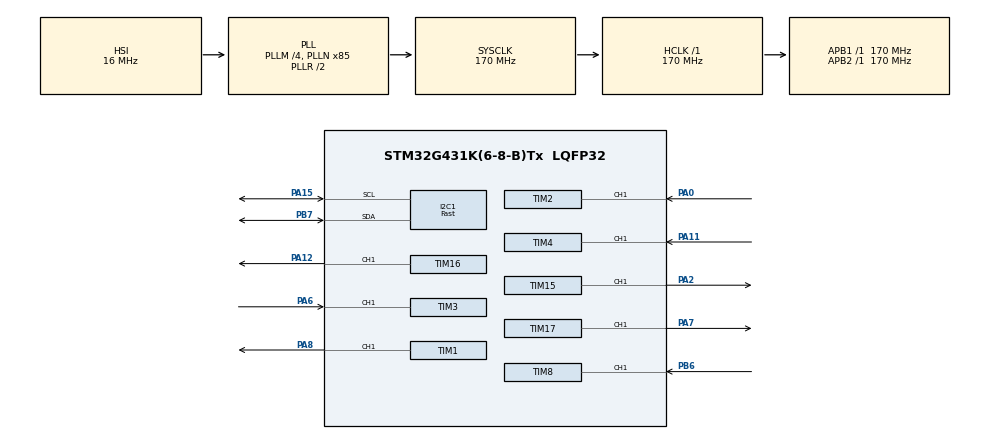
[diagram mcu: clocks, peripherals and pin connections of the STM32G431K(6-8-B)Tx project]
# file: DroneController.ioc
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I2C1.I2C_Speed_Mode=I2C_Fast
I2C1.Timing=0x40621236
Mcu.Family=STM32G4
Mcu.Name=STM32G431K(6-8-B)Tx
Mcu.Package=LQFP32
NVIC.PriorityGroup=NVIC_PRIORITYGROUP_4
NVIC.TIM2_IRQn=true\:0\:0\:false\:false\:true\:true\:true\:true
NVIC.TIM3_IRQn=true\:0\:0\:false\:false\:true\:true\:true\:true
NVIC.TIM4_IRQn=true\:0\:0\:false\:false\:true\:true\:true\:true
NVIC.TIM8_CC_IRQn=true\:0\:0\:false\:false\:true\:true\:true\:true
PA0.Signal=S_TIM2_CH1
PA11.Signal=S_TIM4_CH1
PA12.Signal=S_TIM16_CH1
PA13.GPIO_Label=T_SWDIO
PA13.Mode=Trace_Asynchronous_SW
PA13.Signal=SYS_JTMS-SWDIO
PA14.GPIO_Label=T_SWCLK
PA14.Mode=Trace_Asynchronous_SW
PA14.Signal=SYS_JTCK-SWCLK
PA15.Mode=I2C
PA15.Signal=I2C1_SCL
PA2.Signal=S_TIM15_CH1
PA6.Signal=S_TIM3_CH1
PA7.Signal=S_TIM17_CH1
PA8.Signal=S_TIM1_CH1
PB3.GPIO_Label=T_SWO
PB3.Mode=Trace_Asynchronous_SW
PB3.Signal=SYS_JTDO-SWO
PB6.Signal=S_TIM8_CH1
PB7.Mode=I2C
PB7.Signal=I2C1_SDA
PF0-OSC_IN.Mode=HSE-External-Oscillator
PF0-OSC_IN.Signal=RCC_OSC_IN
PF1-OSC_OUT.Mode=HSE-External-Oscillator
PF1-OSC_OUT.Signal=RCC_OSC_OUT
ProjectManager.HeapSize=0x200
ProjectManager.StackSize=0x400
ProjectManager.TargetToolchain=STM32CubeIDE
RCC.ADC12Freq_Value=170000000
RCC.AHBFreq_Value=170000000
RCC.APB1Freq_Value=170000000
RCC.APB1TimFreq_Value=170000000
RCC.APB2Freq_Value=170000000
RCC.APB2TimFreq_Value=170000000
RCC.CortexFreq_Value=170000000
RCC.EXTERNAL_CLOCK_VALUE=12288000
RCC.HCLKFreq_Value=170000000
RCC.HSE_VALUE=8000000
RCC.HSI48_VALUE=48000000
RCC.HSI_VALUE=16000000
RCC.LSE_VALUE=32768
RCC.PLLM=RCC_PLLM_DIV4
RCC.PLLN=85
RCC.SYSCLKFreq_VALUE=170000000
RCC.SYSCLKSource=RCC_SYSCLKSOURCE_PLLCLK
RCC.USBFreq_Value=170000000
RCC.VCOOutputFreq_Value=340000000
SH.S_TIM15_CH1.0=TIM15_CH1,PWM Generation1 CH1
SH.S_TIM16_CH1.0=TIM16_CH1,PWM Generation1 CH1
SH.S_TIM17_CH1.0=TIM17_CH1,PWM Generation1 CH1
SH.S_TIM1_CH1.0=TIM1_CH1,PWM Generation1 CH1
SH.S_TIM2_CH1.0=TIM2_CH1,PWM_Input_1
SH.S_TIM3_CH1.0=TIM3_CH1,PWM_Input_1
SH.S_TIM4_CH1.0=TIM4_CH1,PWM_Input_1
SH.S_TIM8_CH1.0=TIM8_CH1,PWM_Input_1
TIM1.Channel-PWM\ Generation1\ CH1=TIM_CHANNEL_1
TIM1.PeriodNoDither=50000-1
TIM1.Prescaler=68-1
TIM15.Channel-PWM\ Generation1\ CH1=TIM_CHANNEL_1
TIM15.PeriodNoDither=50000-1
TIM15.Prescaler=68-1
TIM16.Channel=TIM_CHANNEL_1
TIM16.PeriodNoDither=50000-1
TIM16.Prescaler=68-1
TIM17.Channel=TIM_CHANNEL_1
TIM17.PeriodNoDither=50000-1
TIM17.Prescaler=68-1
TIM2.PeriodNoDither=0xffffffff
TIM2.Prescaler=0
TIM3.ICFilter_1=0
TIM3.Prescaler=10-1
TIM4.PeriodNoDither=65535
TIM4.Prescaler=10-1
TIM6.PeriodNoDither=65535
TIM6.Prescaler=170-1
TIM8.Prescaler=10-1
VP_SYS_VS_DBSignals.Mode=DisableDeadBatterySignals
VP_TIM16_VS_ClockSourceINT.Mode=Enable_Timer
VP_TIM17_VS_ClockSourceINT.Mode=Enable_Timer
VP_TIM2_VS_ClockSourceINT.Mode=Internal
VP_TIM3_VS_ClockSourceINT.Mode=Internal
VP_TIM4_VS_ClockSourceINT.Mode=Internal
VP_TIM6_VS_ClockSourceINT.Mode=Enable_Timer
VP_TIM8_VS_ClockSourceINT.Mode=Internal
board=NUCLEO-G431KB

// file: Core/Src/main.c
/* USER CODE BEGIN Header */
/**
  ******************************************************************************
  * @file           : main.c
  * @brief          : Main program body
  ******************************************************************************
  * @attention
  *
  * Copyright (c) 2024 STMicroelectronics.
  * All rights reserved.
  *
  * This software is licensed under terms that can be found in the LICENSE file
  * in the root directory of this software component.
  * If no LICENSE file comes with this software, it is provided AS-IS.
  *
  ******************************************************************************
  */
/* USER CODE END Header */
#include "main.h"

/* USER CODE BEGIN Includes */
#include <stdio.h>
#include "IMU_KF.h"
#include "PID.h"
#include "mpu6050.h"

/* USER CODE END Includes */

I2C_HandleTypeDef hi2c1;

TIM_HandleTypeDef htim1;
TIM_HandleTypeDef htim2;
TIM_HandleTypeDef htim3;
TIM_HandleTypeDef htim4;
TIM_HandleTypeDef htim6;
TIM_HandleTypeDef htim8;
TIM_HandleTypeDef htim15;
TIM_HandleTypeDef htim16;
TIM_HandleTypeDef htim17;

/* USER CODE BEGIN PV */
struct est estimate;
struct est estimateCompFilter;
struct motSpeeds omegaMot;
struct motSpeeds motorPWM;
long unsigned t_main = 0;
double ts = 0.001; 	// ts in s
double phiEst = 0;
double thetaEst = 0;
double yawInt = 0;
float recRoll; float recPitch; float recYaw; float recAltitude;
float rollMin = -pi/4; float rollMax = pi/4;
float pitchMin = -pi/4; float pitchMax = pi/4;
float thrustMin = 0; float thrustMax = 80; // [N]
uint32_t recRollDuty; uint32_t recPitchDuty; uint32_t recYawDuty; uint32_t recThrustDuty;		//tim15 = pitch, tim8 = roll, tim16 = yaw, tim17 = thrust
uint32_t recRollCapt; uint32_t recPitchCapt; uint32_t recYawCapt; uint32_t recThrustCapt;
uint16_t timeTaken = 0;
uint32_t recRollDutyZero = 750; uint16_t recRollDutyMax = 209;  uint16_t recRollDutyMin = -209;
uint32_t recPitchDutyZero = 205; uint16_t recPitchDutyMax = 57; uint16_t recPitchDutyMin = -57;
uint32_t recYawDutyZero = 195; uint16_t recYawDutyMax = -56; uint16_t recYawDutyMin = 56;
uint32_t recThrustDutyZero = 147; int16_t recThrustDutyMax = 113; int16_t recThrustDutyMin = 0;
uint16_t phiPlot = 0;

float alphaAlt = 0.001; float recAltitudeOld = 0;
float alphaRoll = 0.01; float recRollOld = 0;
float alphaPitch = 0.01; float recPitchOld = 0;
float alphaYaw = 0.005; float recYawOld = 0;

int counter = 0;
/* USER CODE END PV */

void SystemClock_Config(void);
static void MX_GPIO_Init(void);
static void MX_TIM2_Init(void);
static void MX_I2C1_Init(void);
static void MX_TIM16_Init(void);
static void MX_TIM3_Init(void);
static void MX_TIM4_Init(void);
static void MX_TIM8_Init(void);
static void MX_TIM6_Init(void);
static void MX_TIM15_Init(void);
static void MX_TIM17_Init(void);
static void MX_TIM1_Init(void);

/* USER CODE BEGIN 0 */
/*#ifdef __GNUC__
#define PUTCHAR_PROTOTYPE int __io_putchar(int ch)
#else
#define PUTCHAR_PROTOTYPE int fputc(int ch, FILE *f)
#endif

PUTCHAR_PROTOTYPE
{
  HAL_UART_Transmit(&huart2, (uint8_t *)&ch, 1, HAL_MAX_DELAY);
  return ch;
}*/

// read PWM signals
void HAL_TIM_IC_CaptureCallback(TIM_HandleTypeDef *htim)
{
	// timer 8 pitch
	if (htim->Instance == htim8.Instance) {
		if (htim->Channel == HAL_TIM_ACTIVE_CHANNEL_1)  // If the interrupt is triggered by channel 1
		{
			// Read the IC value
			recPitchCapt = HAL_TIM_ReadCapturedValue(htim, TIM_CHANNEL_1);

			if (recPitchCapt)
			{
				// calculate the Duty Cycle
				recPitchDuty = (HAL_TIM_ReadCapturedValue(htim, TIM_CHANNEL_2) *100)/recPitchCapt;
			}
		}
	}
	// timer 2 roll
	else if (htim->Instance == htim2.Instance) {
		if (htim->Channel == HAL_TIM_ACTIVE_CHANNEL_1)  // If the interrupt is triggered by channel 1
		{
			// Read the IC value
			recRollCapt = HAL_TIM_ReadCapturedValue(htim, TIM_CHANNEL_1);

			if (recRollCapt)
			{
				// calculate the Duty Cycle
				recRollDuty = (HAL_TIM_ReadCapturedValue(htim, TIM_CHANNEL_2) *10000)/recRollCapt;
			}
		}
	}
	// timer 3 yaw
	else if (htim->Instance == htim3.Instance) {
		if (htim->Channel == HAL_TIM_ACTIVE_CHANNEL_1)  // If the interrupt is triggered by channel 1
		{
			// Read the IC value
			recYawCapt = HAL_TIM_ReadCapturedValue(htim, TIM_CHANNEL_1);

			if (recYawCapt)
			{
				// calculate the Duty Cycle
				recYawDuty = (HAL_TIM_ReadCapturedValue(htim, TIM_CHANNEL_2) *100)/recYawCapt;
			}
		}
	}
	// timer 4 thrust
	else if (htim->Instance == htim4.Instance) {
		if (htim->Channel == HAL_TIM_ACTIVE_CHANNEL_1)  // If the interrupt is triggered by channel 1
		{
			// Read the IC value
			recThrustCapt = HAL_TIM_ReadCapturedValue(htim, TIM_CHANNEL_1);

			if (recThrustCapt)
			{
				// calculate the Duty Cycle
				recThrustDuty = (HAL_TIM_ReadCapturedValue(htim, TIM_CHANNEL_2) *100)/recThrustCapt;
			}
		}
	}
}

/* USER CODE END 0 */

int main(void)
{

  /* MCU Configuration--------------------------------------------------------*/

  /* Reset of all peripherals, Initializes the Flash interface and the Systick. */
  HAL_Init();

  /* Configure the system clock */
  SystemClock_Config();

  /* Initialize all configured peripherals */
  MX_GPIO_Init();
  MX_TIM2_Init();
  MX_I2C1_Init();
  MX_TIM16_Init();
  MX_TIM3_Init();
  MX_TIM4_Init();
  MX_TIM8_Init();
  MX_TIM6_Init();
  MX_TIM15_Init();
  MX_TIM17_Init();
  MX_TIM1_Init();
  /* USER CODE BEGIN 2 */
  //MPU6050_Init();
  HAL_TIM_Base_Start(&htim6);
  //HAL_TIM_Base_Start(&htim2);

  // pwm out timers
  HAL_TIM_PWM_Start(&htim1, TIM_CHANNEL_1);		//PA8
  HAL_TIM_PWM_Start(&htim15, TIM_CHANNEL_1);	//PA2
  HAL_TIM_PWM_Start(&htim16, TIM_CHANNEL_1);	//PA12
  HAL_TIM_PWM_Start(&htim17, TIM_CHANNEL_1);	//PA7

  //roll timer pwm in -> rec ch 8
  HAL_TIM_IC_Start_IT(&htim2, TIM_CHANNEL_1);   // main channel
  HAL_TIM_IC_Start(&htim2, TIM_CHANNEL_2);

  //pitch timer pwm in -> rec ch 2
  HAL_TIM_IC_Start_IT(&htim8, TIM_CHANNEL_1);   // main channel
  HAL_TIM_IC_Start(&htim8, TIM_CHANNEL_2);   // indirect channel

  //yaw timer pwm in -> rec ch 4
  HAL_TIM_IC_Start_IT(&htim3, TIM_CHANNEL_1);   // main channel
  HAL_TIM_IC_Start(&htim3, TIM_CHANNEL_2);   // indirect channel

  //thrust timer pwm in -> rec ch 3
  HAL_TIM_IC_Start_IT(&htim4, TIM_CHANNEL_1);   // main channel
  HAL_TIM_IC_Start(&htim4, TIM_CHANNEL_2);   // indirect channel

  MPU6050_Initialization();

  calibrateGyro(0.1, 0.1);	// calibrate gyro for 2 seconds, wait 1 second to let sensor settle
  calibrateMotors();

  /* USER CODE END 2 */

  /* Infinite loop */
  while (1)
  {

    /* USER CODE BEGIN 3 */

	/*		Start 1 ms loop		*/
	__HAL_TIM_SET_COUNTER(&htim6,0);	// set timer counter to 0

	// read receiver (6 us)
	recRoll = roundf(((float)recRollDuty-(float)recRollDutyZero)*rollMax/recRollDutyMax * 100) / 100;
	recRoll = alphaRoll*recRoll + (1-alphaRoll)*recRollOld;	//digital lowpass receiver
	recRollOld = recRoll;
	recPitch = roundf(((float)recPitchDuty-(float)recPitchDutyZero)*pitchMax/recPitchDutyMax * 100) / 100;
	recPitch = alphaPitch*recPitch + (1-alphaPitch)*recPitchOld;	//digital lowpass receiver
	recPitchOld = recPitch;
	recYaw = roundf((((float)recYawDuty-(float)recYawDutyZero)) * 100) / 100;
	recYaw = alphaYaw*recYaw + (1-alphaYaw)*recYawOld;	//digital lowpass receiver
	recYawOld = recYaw;
	recAltitude = roundf(((float)recThrustDuty - (float)recThrustDutyZero)*thrustMax/recThrustDutyMax * 100) / 100;
	recAltitude = alphaAlt*recAltitude + (1-alphaAlt)*recAltitudeOld;	//digital lowpass receiver
	recAltitudeOld = recAltitude;
	recRoll = 0;
	recPitch = 0;
	recYaw = 0;
/*
	if (recRoll<0.01) {recRoll =0;}
	if (recPitch<0.01) {recPitch =0;}
	if (recAltitude<3) {recAltitude =0;}

*/
	// Read IMU Sensors
	MPU6050_ProcessData(&MPU6050);
	// ->> reading the sensor takes 425 us -> 575 us for control and KF

	// Call KF
	//estimate = callKF(MPU6050.acc_x, MPU6050.acc_y, MPU6050.acc_z, MPU6050.gyro_x, MPU6050.gyro_x, MPU6050.gyro_x, ts);		// ekf takes 65 us
	estimateCompFilter = callCompFilter(MPU6050.acc_x, MPU6050.acc_y, MPU6050.acc_z, MPU6050.gyro_x, MPU6050.gyro_y, MPU6050.gyro_z, ts);
	estimate.phi = estimateCompFilter.phi;
	estimate.theta = estimateCompFilter.theta;
	estimate.psi = 0;
	phiPlot = (uint16_t)(estimate.phi*180/pi);

	// Call Ctr
	omegaMot = callPID(estimate.phi, estimate.theta, estimate.psi, recRoll, recAltitude, recPitch, recYaw, ts);

	// convert motor speed to PWM Dutycycle
	motorPWM.w2 = (uint16_t)((omegaMot.w1 - 0) * (5000 - 2500) / (w_max - 0) + 2500);	// motor right
	motorPWM.w3 = (uint16_t)((omegaMot.w2 - 0) * (5000 - 2500) / (w_max - 0) + 2500);	// motor back
	motorPWM.w4 = (uint16_t)((omegaMot.w3 - 0) * (5000 - 2500) / (w_max - 0) + 2500);	// motor left
	motorPWM.w1 = (uint16_t)((omegaMot.w4 - 0) * (5000 - 2500) / (w_max - 0) + 2500);	// motor front
	//motorPWM.w1 = (uint16_t)((recAltitude - 0) * (100 - 50) / (thrustMax - 0) + 50);	// motor right
	if (motorPWM.w1 < 2800) {motorPWM.w1 = 2800;}
	if (recAltitude < 4) {motorPWM.w1 = 2500;};
	if (motorPWM.w1 > 5000) {motorPWM.w1 = 5000;}
	if (motorPWM.w2 < 2800) {motorPWM.w2 = 2800;}
	if (recAltitude < 4) {motorPWM.w2 = 2500;};
	if (motorPWM.w2 > 5000) {motorPWM.w2 = 5000;}
	if (motorPWM.w3 < 2800) {motorPWM.w3 = 2800;}
	if (recAltitude < 4) {motorPWM.w3 = 2500;};
	if (motorPWM.w3 > 5000) {motorPWM.w3 = 5000;}
	if (motorPWM.w4 < 2800) {motorPWM.w4 = 2800;}
	if (recAltitude < 4) {motorPWM.w4 = 2500;};
	if (motorPWM.w4 > 5000) {motorPWM.w4 = 5000;}

	//printf("%f\t%f\t%f\t%f\n", omegaMot.w1, omegaMot.w2, omegaMot.w3, omegaMot.w4);

	/*
	float motorSpeed = 0;
	motorSpeed = (uint16_t)((estimate.phi - 0) * (100 - 50) / (pi/2 - 0) + 50);
	if (motorSpeed < 50) {motorSpeed = 50;}
	if (motorSpeed > 100) {motorSpeed = 100;}
	TIM1->CCR1 = motorSpeed;*/
	TIM1->CCR1 = motorPWM.w1;		// motor w1
	TIM16->CCR1 = motorPWM.w2;	//motor w2
	TIM15->CCR1 = motorPWM.w3; //motor w3
	TIM17->CCR1 = motorPWM.w4;	//motor w4

	//printf("%f\t%f\t%f\t%f\n", estimate.phi, estimate.theta, estimateCompFilter.phi, estimateCompFilter.theta);

	//printf("time: %lu\n", __HAL_TIM_GET_COUNTER(&htim16));

	// additional delay to get to 1ms loop time
	while (__HAL_TIM_GET_COUNTER(&htim6) < ts*1000000) {}
	timeTaken = __HAL_TIM_GET_COUNTER(&htim6);
	//printf("Phi: %f\tTheta: %f\tTot: %lu\n", estimate.phi, estimate.theta, __HAL_TIM_GET_COUNTER(&htim16));

	/*		Finish 1 ms loop		*/

  }
  /* USER CODE END 3 */
}

void SystemClock_Config(void)
{
  RCC_OscInitTypeDef RCC_OscInitStruct = {0};
  RCC_ClkInitTypeDef RCC_ClkInitStruct = {0};

  /** Configure the main internal regulator output voltage
  */
  HAL_PWREx_ControlVoltageScaling(PWR_REGULATOR_VOLTAGE_SCALE1_BOOST);

  /** Initializes the RCC Oscillators according to the specified parameters
  * in the RCC_OscInitTypeDef structure.
  */
  RCC_OscInitStruct.OscillatorType = RCC_OSCILLATORTYPE_HSI;
  RCC_OscInitStruct.HSIState = RCC_HSI_ON;
  RCC_OscInitStruct.HSICalibrationValue = RCC_HSICALIBRATION_DEFAULT;
  RCC_OscInitStruct.PLL.PLLState = RCC_PLL_ON;
  RCC_OscInitStruct.PLL.PLLSource = RCC_PLLSOURCE_HSI;
  RCC_OscInitStruct.PLL.PLLM = RCC_PLLM_DIV4;
  RCC_OscInitStruct.PLL.PLLN = 85;
  RCC_OscInitStruct.PLL.PLLP = RCC_PLLP_DIV2;
  RCC_OscInitStruct.PLL.PLLQ = RCC_PLLQ_DIV2;
  RCC_OscInitStruct.PLL.PLLR = RCC_PLLR_DIV2;
  if (HAL_RCC_OscConfig(&RCC_OscInitStruct) != HAL_OK)
  {
    Error_Handler();
  }

  /** Initializes the CPU, AHB and APB buses clocks
  */
  RCC_ClkInitStruct.ClockType = RCC_CLOCKTYPE_HCLK|RCC_CLOCKTYPE_SYSCLK
                              |RCC_CLOCKTYPE_PCLK1|RCC_CLOCKTYPE_PCLK2;
  RCC_ClkInitStruct.SYSCLKSource = RCC_SYSCLKSOURCE_PLLCLK;
  RCC_ClkInitStruct.AHBCLKDivider = RCC_SYSCLK_DIV1;
  RCC_ClkInitStruct.APB1CLKDivider = RCC_HCLK_DIV1;
  RCC_ClkInitStruct.APB2CLKDivider = RCC_HCLK_DIV1;

  if (HAL_RCC_ClockConfig(&RCC_ClkInitStruct, FLASH_LATENCY_4) != HAL_OK)
  {
    Error_Handler();
  }
}

static void MX_I2C1_Init(void)
{

  hi2c1.Instance = I2C1;
  hi2c1.Init.Timing = 0x40621236;
  hi2c1.Init.OwnAddress1 = 0;
  hi2c1.Init.AddressingMode = I2C_ADDRESSINGMODE_7BIT;
  hi2c1.Init.DualAddressMode = I2C_DUALADDRESS_DISABLE;
  hi2c1.Init.OwnAddress2 = 0;
  hi2c1.Init.OwnAddress2Masks = I2C_OA2_NOMASK;
  hi2c1.Init.GeneralCallMode = I2C_GENERALCALL_DISABLE;
  hi2c1.Init.NoStretchMode = I2C_NOSTRETCH_DISABLE;
  if (HAL_I2C_Init(&hi2c1) != HAL_OK)
  {
    Error_Handler();
  }

  /** Configure Analogue filter
  */
  if (HAL_I2CEx_ConfigAnalogFilter(&hi2c1, I2C_ANALOGFILTER_ENABLE) != HAL_OK)
  {
    Error_Handler();
  }

  /** Configure Digital filter
  */
  if (HAL_I2CEx_ConfigDigitalFilter(&hi2c1, 0) != HAL_OK)
  {
    Error_Handler();
  }

}

static void MX_TIM1_Init(void)
{

  TIM_MasterConfigTypeDef sMasterConfig = {0};
  TIM_OC_InitTypeDef sConfigOC = {0};
  TIM_BreakDeadTimeConfigTypeDef sBreakDeadTimeConfig = {0};

  htim1.Instance = TIM1;
  htim1.Init.Prescaler = 68-1;
  htim1.Init.CounterMode = TIM_COUNTERMODE_UP;
  htim1.Init.Period = 49999;
  htim1.Init.ClockDivision = TIM_CLOCKDIVISION_DIV1;
  htim1.Init.RepetitionCounter = 0;
  htim1.Init.AutoReloadPreload = TIM_AUTORELOAD_PRELOAD_DISABLE;
  if (HAL_TIM_PWM_Init(&htim1) != HAL_OK)
  {
    Error_Handler();
  }
  sMasterConfig.MasterOutputTrigger = TIM_TRGO_RESET;
  sMasterConfig.MasterOutputTrigger2 = TIM_TRGO2_RESET;
  sMasterConfig.MasterSlaveMode = TIM_MASTERSLAVEMODE_DISABLE;
  if (HAL_TIMEx_MasterConfigSynchronization(&htim1, &sMasterConfig) != HAL_OK)
  {
    Error_Handler();
  }
  sConfigOC.OCMode = TIM_OCMODE_PWM1;
  sConfigOC.Pulse = 0;
  sConfigOC.OCPolarity = TIM_OCPOLARITY_HIGH;
  sConfigOC.OCNPolarity = TIM_OCNPOLARITY_HIGH;
  sConfigOC.OCFastMode = TIM_OCFAST_DISABLE;
  sConfigOC.OCIdleState = TIM_OCIDLESTATE_RESET;
  sConfigOC.OCNIdleState = TIM_OCNIDLESTATE_RESET;
  if (HAL_TIM_PWM_ConfigChannel(&htim1, &sConfigOC, TIM_CHANNEL_1) != HAL_OK)
  {
    Error_Handler();
  }
  sBreakDeadTimeConfig.OffStateRunMode = TIM_OSSR_DISABLE;
  sBreakDeadTimeConfig.OffStateIDLEMode = TIM_OSSI_DISABLE;
  sBreakDeadTimeConfig.LockLevel = TIM_LOCKLEVEL_OFF;
  sBreakDeadTimeConfig.DeadTime = 0;
  sBreakDeadTimeConfig.BreakState = TIM_BREAK_DISABLE;
  sBreakDeadTimeConfig.BreakPolarity = TIM_BREAKPOLARITY_HIGH;
  sBreakDeadTimeConfig.BreakFilter = 0;
  sBreakDeadTimeConfig.BreakAFMode = TIM_BREAK_AFMODE_INPUT;
  sBreakDeadTimeConfig.Break2State = TIM_BREAK2_DISABLE;
  sBreakDeadTimeConfig.Break2Polarity = TIM_BREAK2POLARITY_HIGH;
  sBreakDeadTimeConfig.Break2Filter = 0;
  sBreakDeadTimeConfig.Break2AFMode = TIM_BREAK_AFMODE_INPUT;
  sBreakDeadTimeConfig.AutomaticOutput = TIM_AUTOMATICOUTPUT_DISABLE;
  if (HAL_TIMEx_ConfigBreakDeadTime(&htim1, &sBreakDeadTimeConfig) != HAL_OK)
  {
    Error_Handler();
  }
  HAL_TIM_MspPostInit(&htim1);

}

static void MX_TIM2_Init(void)
{

  TIM_ClockConfigTypeDef sClockSourceConfig = {0};
  TIM_SlaveConfigTypeDef sSlaveConfig = {0};
  TIM_IC_InitTypeDef sConfigIC = {0};
  TIM_MasterConfigTypeDef sMasterConfig = {0};

  htim2.Instance = TIM2;
  htim2.Init.Prescaler = 0;
  htim2.Init.CounterMode = TIM_COUNTERMODE_UP;
  htim2.Init.Period = 4294967295;
  htim2.Init.ClockDivision = TIM_CLOCKDIVISION_DIV1;
  htim2.Init.AutoReloadPreload = TIM_AUTORELOAD_PRELOAD_DISABLE;
  if (HAL_TIM_Base_Init(&htim2) != HAL_OK)
  {
    Error_Handler();
  }
  sClockSourceConfig.ClockSource = TIM_CLOCKSOURCE_INTERNAL;
  if (HAL_TIM_ConfigClockSource(&htim2, &sClockSourceConfig) != HAL_OK)
  {
    Error_Handler();
  }
  if (HAL_TIM_IC_Init(&htim2) != HAL_OK)
  {
    Error_Handler();
  }
  sSlaveConfig.SlaveMode = TIM_SLAVEMODE_RESET;
  sSlaveConfig.InputTrigger = TIM_TS_TI1FP1;
  sSlaveConfig.TriggerPolarity = TIM_INPUTCHANNELPOLARITY_RISING;
  sSlaveConfig.TriggerPrescaler = TIM_ICPSC_DIV1;
  sSlaveConfig.TriggerFilter = 0;
  if (HAL_TIM_SlaveConfigSynchro(&htim2, &sSlaveConfig) != HAL_OK)
  {
    Error_Handler();
  }
  sConfigIC.ICPolarity = TIM_INPUTCHANNELPOLARITY_RISING;
  sConfigIC.ICSelection = TIM_ICSELECTION_DIRECTTI;
  sConfigIC.ICPrescaler = TIM_ICPSC_DIV1;
  sConfigIC.ICFilter = 0;
  if (HAL_TIM_IC_ConfigChannel(&htim2, &sConfigIC, TIM_CHANNEL_1) != HAL_OK)
  {
    Error_Handler();
  }
  sConfigIC.ICPolarity = TIM_INPUTCHANNELPOLARITY_FALLING;
  sConfigIC.ICSelection = TIM_ICSELECTION_INDIRECTTI;
  if (HAL_TIM_IC_ConfigChannel(&htim2, &sConfigIC, TIM_CHANNEL_2) != HAL_OK)
  {
    Error_Handler();
  }
  sMasterConfig.MasterOutputTrigger = TIM_TRGO_RESET;
  sMasterConfig.MasterSlaveMode = TIM_MASTERSLAVEMODE_DISABLE;
  if (HAL_TIMEx_MasterConfigSynchronization(&htim2, &sMasterConfig) != HAL_OK)
  {
    Error_Handler();
  }

}

static void MX_TIM3_Init(void)
{

  TIM_ClockConfigTypeDef sClockSourceConfig = {0};
  TIM_SlaveConfigTypeDef sSlaveConfig = {0};
  TIM_IC_InitTypeDef sConfigIC = {0};
  TIM_MasterConfigTypeDef sMasterConfig = {0};

  htim3.Instance = TIM3;
  htim3.Init.Prescaler = 10-1;
  htim3.Init.CounterMode = TIM_COUNTERMODE_UP;
  htim3.Init.Period = 65535;
  htim3.Init.ClockDivision = TIM_CLOCKDIVISION_DIV1;
  htim3.Init.AutoReloadPreload = TIM_AUTORELOAD_PRELOAD_DISABLE;
  if (HAL_TIM_Base_Init(&htim3) != HAL_OK)
  {
    Error_Handler();
  }
  sClockSourceConfig.ClockSource = TIM_CLOCKSOURCE_INTERNAL;
  if (HAL_TIM_ConfigClockSource(&htim3, &sClockSourceConfig) != HAL_OK)
  {
    Error_Handler();
  }
  if (HAL_TIM_IC_Init(&htim3) != HAL_OK)
  {
    Error_Handler();
  }
  sSlaveConfig.SlaveMode = TIM_SLAVEMODE_RESET;
  sSlaveConfig.InputTrigger = TIM_TS_TI1FP1;
  sSlaveConfig.TriggerPolarity = TIM_INPUTCHANNELPOLARITY_RISING;
  sSlaveConfig.TriggerPrescaler = TIM_ICPSC_DIV1;
  sSlaveConfig.TriggerFilter = 0;
  if (HAL_TIM_SlaveConfigSynchro(&htim3, &sSlaveConfig) != HAL_OK)
  {
    Error_Handler();
  }
  sConfigIC.ICPolarity = TIM_INPUTCHANNELPOLARITY_RISING;
  sConfigIC.ICSelection = TIM_ICSELECTION_DIRECTTI;
  sConfigIC.ICPrescaler = TIM_ICPSC_DIV1;
  sConfigIC.ICFilter = 0;
  if (HAL_TIM_IC_ConfigChannel(&htim3, &sConfigIC, TIM_CHANNEL_1) != HAL_OK)
  {
    Error_Handler();
  }
  sConfigIC.ICPolarity = TIM_INPUTCHANNELPOLARITY_FALLING;
  sConfigIC.ICSelection = TIM_ICSELECTION_INDIRECTTI;
  if (HAL_TIM_IC_ConfigChannel(&htim3, &sConfigIC, TIM_CHANNEL_2) != HAL_OK)
  {
    Error_Handler();
  }
  sMasterConfig.MasterOutputTrigger = TIM_TRGO_RESET;
  sMasterConfig.MasterSlaveMode = TIM_MASTERSLAVEMODE_DISABLE;
  if (HAL_TIMEx_MasterConfigSynchronization(&htim3, &sMasterConfig) != HAL_OK)
  {
    Error_Handler();
  }

}

static void MX_TIM4_Init(void)
{

  TIM_ClockConfigTypeDef sClockSourceConfig = {0};
  TIM_SlaveConfigTypeDef sSlaveConfig = {0};
  TIM_IC_InitTypeDef sConfigIC = {0};
  TIM_MasterConfigTypeDef sMasterConfig = {0};

  htim4.Instance = TIM4;
  htim4.Init.Prescaler = 10-1;
  htim4.Init.CounterMode = TIM_COUNTERMODE_UP;
  htim4.Init.Period = 65535;
  htim4.Init.ClockDivision = TIM_CLOCKDIVISION_DIV1;
  htim4.Init.AutoReloadPreload = TIM_AUTORELOAD_PRELOAD_DISABLE;
  if (HAL_TIM_Base_Init(&htim4) != HAL_OK)
  {
    Error_Handler();
  }
  sClockSourceConfig.ClockSource = TIM_CLOCKSOURCE_INTERNAL;
  if (HAL_TIM_ConfigClockSource(&htim4, &sClockSourceConfig) != HAL_OK)
  {
    Error_Handler();
  }
  if (HAL_TIM_IC_Init(&htim4) != HAL_OK)
  {
    Error_Handler();
  }
  sSlaveConfig.SlaveMode = TIM_SLAVEMODE_RESET;
  sSlaveConfig.InputTrigger = TIM_TS_TI1FP1;
  sSlaveConfig.TriggerPolarity = TIM_INPUTCHANNELPOLARITY_RISING;
  sSlaveConfig.TriggerPrescaler = TIM_ICPSC_DIV1;
  sSlaveConfig.TriggerFilter = 0;
  if (HAL_TIM_SlaveConfigSynchro(&htim4, &sSlaveConfig) != HAL_OK)
  {
    Error_Handler();
  }
  sConfigIC.ICPolarity = TIM_INPUTCHANNELPOLARITY_RISING;
  sConfigIC.ICSelection = TIM_ICSELECTION_DIRECTTI;
  sConfigIC.ICPrescaler = TIM_ICPSC_DIV1;
  sConfigIC.ICFilter = 0;
  if (HAL_TIM_IC_ConfigChannel(&htim4, &sConfigIC, TIM_CHANNEL_1) != HAL_OK)
  {
    Error_Handler();
  }
  sConfigIC.ICPolarity = TIM_INPUTCHANNELPOLARITY_FALLING;
  sConfigIC.ICSelection = TIM_ICSELECTION_INDIRECTTI;
  if (HAL_TIM_IC_ConfigChannel(&htim4, &sConfigIC, TIM_CHANNEL_2) != HAL_OK)
  {
    Error_Handler();
  }
  sMasterConfig.MasterOutputTrigger = TIM_TRGO_RESET;
  sMasterConfig.MasterSlaveMode = TIM_MASTERSLAVEMODE_DISABLE;
  if (HAL_TIMEx_MasterConfigSynchronization(&htim4, &sMasterConfig) != HAL_OK)
  {
    Error_Handler();
  }

}

static void MX_TIM6_Init(void)
{

  TIM_MasterConfigTypeDef sMasterConfig = {0};

  htim6.Instance = TIM6;
  htim6.Init.Prescaler = 170-1;
  htim6.Init.CounterMode = TIM_COUNTERMODE_UP;
  htim6.Init.Period = 65535;
  htim6.Init.AutoReloadPreload = TIM_AUTORELOAD_PRELOAD_DISABLE;
  if (HAL_TIM_Base_Init(&htim6) != HAL_OK)
  {
    Error_Handler();
  }
  sMasterConfig.MasterOutputTrigger = TIM_TRGO_RESET;
  sMasterConfig.MasterSlaveMode = TIM_MASTERSLAVEMODE_DISABLE;
  if (HAL_TIMEx_MasterConfigSynchronization(&htim6, &sMasterConfig) != HAL_OK)
  {
    Error_Handler();
  }

}

static void MX_TIM8_Init(void)
{

  TIM_ClockConfigTypeDef sClockSourceConfig = {0};
  TIM_SlaveConfigTypeDef sSlaveConfig = {0};
  TIM_IC_InitTypeDef sConfigIC = {0};
  TIM_MasterConfigTypeDef sMasterConfig = {0};

  htim8.Instance = TIM8;
  htim8.Init.Prescaler = 10-1;
  htim8.Init.CounterMode = TIM_COUNTERMODE_UP;
  htim8.Init.Period = 65535;
  htim8.Init.ClockDivision = TIM_CLOCKDIVISION_DIV1;
  htim8.Init.RepetitionCounter = 0;
  htim8.Init.AutoReloadPreload = TIM_AUTORELOAD_PRELOAD_DISABLE;
  if (HAL_TIM_Base_Init(&htim8) != HAL_OK)
  {
    Error_Handler();
  }
  sClockSourceConfig.ClockSource = TIM_CLOCKSOURCE_INTERNAL;
  if (HAL_TIM_ConfigClockSource(&htim8, &sClockSourceConfig) != HAL_OK)
  {
    Error_Handler();
  }
  if (HAL_TIM_IC_Init(&htim8) != HAL_OK)
  {
    Error_Handler();
  }
  sSlaveConfig.SlaveMode = TIM_SLAVEMODE_RESET;
  sSlaveConfig.InputTrigger = TIM_TS_TI1FP1;
  sSlaveConfig.TriggerPolarity = TIM_INPUTCHANNELPOLARITY_RISING;
  sSlaveConfig.TriggerPrescaler = TIM_ICPSC_DIV1;
  sSlaveConfig.TriggerFilter = 0;
  if (HAL_TIM_SlaveConfigSynchro(&htim8, &sSlaveConfig) != HAL_OK)
  {
    Error_Handler();
  }
  sConfigIC.ICPolarity = TIM_INPUTCHANNELPOLARITY_RISING;
  sConfigIC.ICSelection = TIM_ICSELECTION_DIRECTTI;
  sConfigIC.ICPrescaler = TIM_ICPSC_DIV1;
  sConfigIC.ICFilter = 0;
  if (HAL_TIM_IC_ConfigChannel(&htim8, &sConfigIC, TIM_CHANNEL_1) != HAL_OK)
  {
    Error_Handler();
  }
  sConfigIC.ICPolarity = TIM_INPUTCHANNELPOLARITY_FALLING;
  sConfigIC.ICSelection = TIM_ICSELECTION_INDIRECTTI;
  if (HAL_TIM_IC_ConfigChannel(&htim8, &sConfigIC, TIM_CHANNEL_2) != HAL_OK)
  {
    Error_Handler();
  }
  sMasterConfig.MasterOutputTrigger = TIM_TRGO_RESET;
  sMasterConfig.MasterOutputTrigger2 = TIM_TRGO2_RESET;
  sMasterConfig.MasterSlaveMode = TIM_MASTERSLAVEMODE_DISABLE;
  if (HAL_TIMEx_MasterConfigSynchronization(&htim8, &sMasterConfig) != HAL_OK)
  {
    Error_Handler();
  }

}

static void MX_TIM15_Init(void)
{

  TIM_MasterConfigTypeDef sMasterConfig = {0};
  TIM_OC_InitTypeDef sConfigOC = {0};
  TIM_BreakDeadTimeConfigTypeDef sBreakDeadTimeConfig = {0};

  htim15.Instance = TIM15;
  htim15.Init.Prescaler = 68-1;
  htim15.Init.CounterMode = TIM_COUNTERMODE_UP;
  htim15.Init.Period = 49999;
  htim15.Init.ClockDivision = TIM_CLOCKDIVISION_DIV1;
  htim15.Init.RepetitionCounter = 0;
  htim15.Init.AutoReloadPreload = TIM_AUTORELOAD_PRELOAD_DISABLE;
  if (HAL_TIM_PWM_Init(&htim15) != HAL_OK)
  {
    Error_Handler();
  }
  sMasterConfig.MasterOutputTrigger = TIM_TRGO_RESET;
  sMasterConfig.MasterSlaveMode = TIM_MASTERSLAVEMODE_DISABLE;
  if (HAL_TIMEx_MasterConfigSynchronization(&htim15, &sMasterConfig) != HAL_OK)
  {
    Error_Handler();
  }
  sConfigOC.OCMode = TIM_OCMODE_PWM1;
  sConfigOC.Pulse = 0;
  sConfigOC.OCPolarity = TIM_OCPOLARITY_HIGH;
  sConfigOC.OCNPolarity = TIM_OCNPOLARITY_HIGH;
  sConfigOC.OCFastMode = TIM_OCFAST_DISABLE;
  sConfigOC.OCIdleState = TIM_OCIDLESTATE_RESET;
  sConfigOC.OCNIdleState = TIM_OCNIDLESTATE_RESET;
  if (HAL_TIM_PWM_ConfigChannel(&htim15, &sConfigOC, TIM_CHANNEL_1) != HAL_OK)
  {
    Error_Handler();
  }
  sBreakDeadTimeConfig.OffStateRunMode = TIM_OSSR_DISABLE;
  sBreakDeadTimeConfig.OffStateIDLEMode = TIM_OSSI_DISABLE;
  sBreakDeadTimeConfig.LockLevel = TIM_LOCKLEVEL_OFF;
  sBreakDeadTimeConfig.DeadTime = 0;
  sBreakDeadTimeConfig.BreakState = TIM_BREAK_DISABLE;
  sBreakDeadTimeConfig.BreakPolarity = TIM_BREAKPOLARITY_HIGH;
  sBreakDeadTimeConfig.BreakFilter = 0;
  sBreakDeadTimeConfig.AutomaticOutput = TIM_AUTOMATICOUTPUT_DISABLE;
  if (HAL_TIMEx_ConfigBreakDeadTime(&htim15, &sBreakDeadTimeConfig) != HAL_OK)
  {
    Error_Handler();
  }
  HAL_TIM_MspPostInit(&htim15);

}

static void MX_TIM16_Init(void)
{

  TIM_OC_InitTypeDef sConfigOC = {0};
  TIM_BreakDeadTimeConfigTypeDef sBreakDeadTimeConfig = {0};

  htim16.Instance = TIM16;
  htim16.Init.Prescaler = 68-1;
  htim16.Init.CounterMode = TIM_COUNTERMODE_UP;
  htim16.Init.Period = 49999;
  htim16.Init.ClockDivision = TIM_CLOCKDIVISION_DIV1;
  htim16.Init.RepetitionCounter = 0;
  htim16.Init.AutoReloadPreload = TIM_AUTORELOAD_PRELOAD_DISABLE;
  if (HAL_TIM_Base_Init(&htim16) != HAL_OK)
  {
    Error_Handler();
  }
  if (HAL_TIM_PWM_Init(&htim16) != HAL_OK)
  {
    Error_Handler();
  }
  sConfigOC.OCMode = TIM_OCMODE_PWM1;
  sConfigOC.Pulse = 0;
  sConfigOC.OCPolarity = TIM_OCPOLARITY_HIGH;
  sConfigOC.OCNPolarity = TIM_OCNPOLARITY_HIGH;
  sConfigOC.OCFastMode = TIM_OCFAST_DISABLE;
  sConfigOC.OCIdleState = TIM_OCIDLESTATE_RESET;
  sConfigOC.OCNIdleState = TIM_OCNIDLESTATE_RESET;
  if (HAL_TIM_PWM_ConfigChannel(&htim16, &sConfigOC, TIM_CHANNEL_1) != HAL_OK)
  {
    Error_Handler();
  }
  sBreakDeadTimeConfig.OffStateRunMode = TIM_OSSR_DISABLE;
  sBreakDeadTimeConfig.OffStateIDLEMode = TIM_OSSI_DISABLE;
  sBreakDeadTimeConfig.LockLevel = TIM_LOCKLEVEL_OFF;
  sBreakDeadTimeConfig.DeadTime = 0;
  sBreakDeadTimeConfig.BreakState = TIM_BREAK_DISABLE;
  sBreakDeadTimeConfig.BreakPolarity = TIM_BREAKPOLARITY_HIGH;
  sBreakDeadTimeConfig.BreakFilter = 0;
  sBreakDeadTimeConfig.AutomaticOutput = TIM_AUTOMATICOUTPUT_DISABLE;
  if (HAL_TIMEx_ConfigBreakDeadTime(&htim16, &sBreakDeadTimeConfig) != HAL_OK)
  {
    Error_Handler();
  }
  HAL_TIM_MspPostInit(&htim16);

}

static void MX_TIM17_Init(void)
{

  TIM_OC_InitTypeDef sConfigOC = {0};
  TIM_BreakDeadTimeConfigTypeDef sBreakDeadTimeConfig = {0};

  htim17.Instance = TIM17;
  htim17.Init.Prescaler = 68-1;
  htim17.Init.CounterMode = TIM_COUNTERMODE_UP;
  htim17.Init.Period = 49999;
  htim17.Init.ClockDivision = TIM_CLOCKDIVISION_DIV1;
  htim17.Init.RepetitionCounter = 0;
  htim17.Init.AutoReloadPreload = TIM_AUTORELOAD_PRELOAD_DISABLE;
  if (HAL_TIM_Base_Init(&htim17) != HAL_OK)
  {
    Error_Handler();
  }
  if (HAL_TIM_PWM_Init(&htim17) != HAL_OK)
  {
    Error_Handler();
  }
  sConfigOC.OCMode = TIM_OCMODE_PWM1;
  sConfigOC.Pulse = 0;
  sConfigOC.OCPolarity = TIM_OCPOLARITY_HIGH;
  sConfigOC.OCNPolarity = TIM_OCNPOLARITY_HIGH;
  sConfigOC.OCFastMode = TIM_OCFAST_DISABLE;
  sConfigOC.OCIdleState = TIM_OCIDLESTATE_RESET;
  sConfigOC.OCNIdleState = TIM_OCNIDLESTATE_RESET;
  if (HAL_TIM_PWM_ConfigChannel(&htim17, &sConfigOC, TIM_CHANNEL_1) != HAL_OK)
  {
    Error_Handler();
  }
  sBreakDeadTimeConfig.OffStateRunMode = TIM_OSSR_DISABLE;
  sBreakDeadTimeConfig.OffStateIDLEMode = TIM_OSSI_DISABLE;
  sBreakDeadTimeConfig.LockLevel = TIM_LOCKLEVEL_OFF;
  sBreakDeadTimeConfig.DeadTime = 0;
  sBreakDeadTimeConfig.BreakState = TIM_BREAK_DISABLE;
  sBreakDeadTimeConfig.BreakPolarity = TIM_BREAKPOLARITY_HIGH;
  sBreakDeadTimeConfig.BreakFilter = 0;
  sBreakDeadTimeConfig.AutomaticOutput = TIM_AUTOMATICOUTPUT_DISABLE;
  if (HAL_TIMEx_ConfigBreakDeadTime(&htim17, &sBreakDeadTimeConfig) != HAL_OK)
  {
    Error_Handler();
  }
  HAL_TIM_MspPostInit(&htim17);

}

static void MX_GPIO_Init(void)
{

  /* GPIO Ports Clock Enable */
  __HAL_RCC_GPIOF_CLK_ENABLE();
  __HAL_RCC_GPIOA_CLK_ENABLE();
  __HAL_RCC_GPIOB_CLK_ENABLE();

}

/* USER CODE BEGIN 4 */

// motor calibration
void calibrateMotors(void) {
	TIM1->CCR1 = 5000;  // Set the maximum pulse (2ms)
	TIM15->CCR1 = 5000;  // Set the maximum pulse (2ms)
	TIM16->CCR1 = 5000;  // Set the maximum pulse (2ms)
	TIM17->CCR1 = 5000;  // Set the maximum pulse (2ms)
	HAL_Delay (2000);  // wait for 1 beep
	TIM1->CCR1 = 2500;   // Set the minimum Pulse (1ms)
	TIM15->CCR1 = 2500;   // Set the minimum Pulse (1ms)
	TIM16->CCR1 = 2500;   // Set the minimum Pulse (1ms)
	TIM17->CCR1 = 2500;   // Set the minimum Pulse (1ms)
	HAL_Delay (1000);  // wait for 2 beeps
	TIM1->CCR1 = 0;    // reset to 0, so it can be controlled via ADC
	TIM15->CCR1 = 0;    // reset to 0, so it can be controlled via ADC
	TIM16->CCR1 = 0;    // reset to 0, so it can be controlled via ADC
	TIM17->CCR1 = 0;    // reset to 0, so it can be controlled via ADC
}

// gyro calibration
void calibrateGyro(uint32_t calTime, uint32_t pauseTime) {
	// calibrates gyro by computing its offsets for a duration of calTime in s

	// gyro calibration values
	double gyrOffsX = 0;
	double gyrOffsY = 0;
	double gyrOffsZ = 0;

	uint16_t count = 0;
	while (count < pauseTime*1000) {
			// Read gyr
			MPU6050_ProcessData(&MPU6050);
			count++;
			HAL_Delay(1);
		}

	count = 0;
	while (count < calTime*1000) {
		// Read gyr
		MPU6050_ProcessData(&MPU6050);
		gyrOffsX += MPU6050.acc_x;
		gyrOffsY += MPU6050.acc_y;
		gyrOffsZ += MPU6050.acc_z;
		count++;
		//printf("Gyro Offsets xyz: %f\t%f\t%f\t", gyrOffsX, gyrOffsY, gyrOffsZ);
		//printf("count: %d\t calCount: %d\n", count, calTime*10);
		HAL_Delay(1);
	}
	gyrOffsX = gyrOffsX/count;
	gyrOffsX = -0.026010986328124999;
	gyrOffsY = gyrOffsY/count;
	gyrOffsY = 0.048194531249999999;
	gyrOffsZ = gyrOffsZ/count;
	gyrOffsZ = 1.0498394287109376;
	setGyrOffset(gyrOffsX,gyrOffsY,gyrOffsZ);
}

// map function
float map(float x, float in_min, float in_max, float out_min, float out_max) {
  return (x - in_min) * (out_max - out_min) / (in_max - in_min) + out_min;
}

// convert dutycycle to angle and force
void convDutyToAng(float recRollIn, float recPitchIn, float recYawIn, float recAltitudeIn) {
	/*if (recRollIn >= 0) {
		 // map(recRollIn, 0, recRollDutyMax, 0, rollMax);
	}
	recRoll = recRollIn;*/

}

/* USER CODE END 4 */

void Error_Handler(void)
{
  __disable_irq();
  while (1)
  {
  }
}
